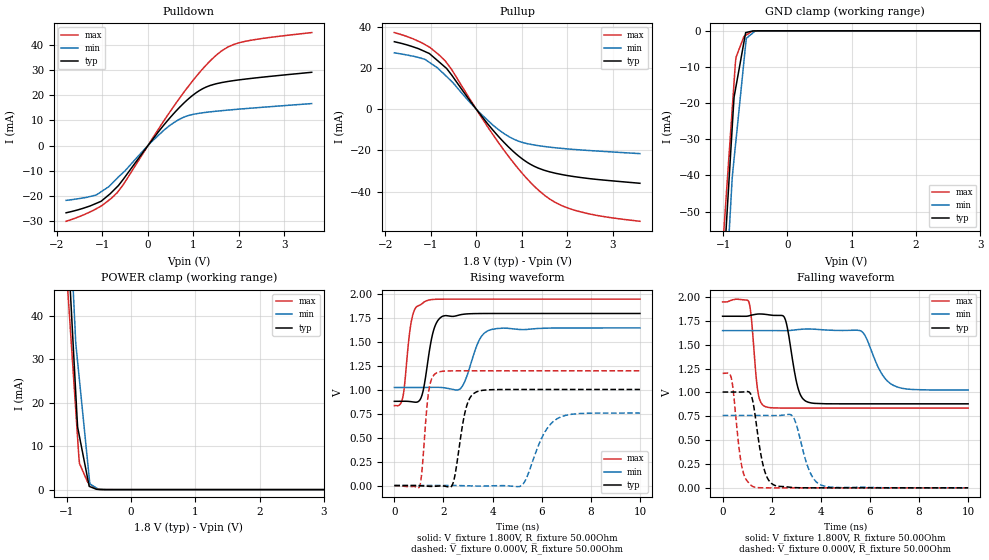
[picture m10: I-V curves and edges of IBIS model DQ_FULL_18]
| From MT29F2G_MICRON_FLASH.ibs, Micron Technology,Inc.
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|   MODEL DQ_FULL_18
[Model]   DQ_FULL_18
Model_type   I/O
Vinl = 360.000mV
Vinh = 1.44V
Vmeas = 900.000mV
Cref = 30.000pF
|   typ   min   max
C_comp   3.52pF   3.07pF   4.00pF
[Model Spec]
| Input threshold voltage corners
Vinl   0.36V   0.33V   0.39V
Vinh   1.44V   1.320V   1.560V
| Measurement voltage corners
Vmeas   0.9V   0.825V   0.975V
[Voltage Range]   1.80V   1.650V   1.950V
| Junction Temperature (Ambient temp is 25C typ, 70C min, 0C max)
[Temperature Range]   40   85   0
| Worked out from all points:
|   slope of the pulldown table from 0 to 0.27 V, typ, clamps not added: 42.2 ohm
|   slope of the pullup table from 0 to 0.27 V, typ, clamps not added: 35.4 ohm
|   GND clamp passes 1 mA (typ) near -0.66 V on its own axis
|   POWER clamp passes 1 mA (typ) near -0.65 V on its own axis
|   falling waveform, V_fixture 1.800V, R_fixture 50.00Ohm: 20-80 % time 370ps typ, 676ps min, 219ps max; typ from 1.8 V to 0.881 V
|   rising waveform, V_fixture 1.800V, R_fixture 50.00Ohm: 20-80 % time 362ps typ, 503ps min, 281ps max; typ from 0.881 V to 1.8 V
|   rising waveform, V_fixture 0.000V, R_fixture 50.00Ohm: 20-80 % time 385ps typ, 757ps min, 232ps max; typ from 0.001 V to 1 V
|   falling waveform, V_fixture 0.000V, R_fixture 50.00Ohm: 20-80 % time 386ps typ, 515ps min, 313ps max; typ from 1 V to 0.001 V
[Pulldown]
|   Voltage   I(typ)   I(min)   I(max)
-1.8V     -26.71mA   -21.78mA   -30.09mA
-1.13V    -22.91mA   -19.57mA   -25.04mA
-860mV    -19.59mA   -16.32mA   -21.73mA
-680mV    -16.44mA   -13.05mA   -18.79mA
80mV      1.879mA    1.499mA    2.282mA
550mV     12.37mA    8.859mA    15.11mA
810mV     17.21mA    11.41mA    21.62mA
1.11V     21.56mA    12.75mA    28.48mA
1.62V     24.99mA    13.83mA    37.57mA
1.88V     25.76mA    14.26mA    40.08mA
2.13V     26.35mA    14.63mA    41.33mA
3.6V      29.07mA    16.65mA    44.84mA
[GND Clamp]
|   Voltage   I(typ)   I(min)   I(max)
-1.8V     -368.6mA   -374.1mA   -367.8mA
-1.01V    -71.25mA   -88.35mA   -60.63mA
-860mV    -26.92mA   -40.9mA    -21.85mA
-830mV    -18.32mA   -35.43mA   -14.1mA
-810mV    -16.34mA   -31.91mA   -8.928mA
-800mV    -15.34mA   -30.15mA   -7.326mA
-680mV    -3.437mA   -9.014mA   -1.724mA
-650mV    -492.2uA   -3.73mA    -1.241mA
-640mV    -450.9uA   -2.072mA   -1.131mA
-560mV    -120.1uA   -899.9uA   -244.2uA
-500mV    -15.04uA   -47.7uA    -71.35uA
3.6V      0A         0A         0A
[Pullup]
|   Voltage   I(typ)   I(min)   I(max)
-1.8V     32.73mA    27.34mA    37.16mA
-1.13V    27.98mA    24.19mA    31.38mA
-1.03V    26.99mA    22.7mA     30.13mA
-680mV    20.3mA     16.47mA    23.38mA
80mV      -2.235mA   -1.815mA   -2.748mA
550mV     -14.69mA   -10.89mA   -18.06mA
810mV     -20.4mA    -14.38mA   -25.69mA
1.06V     -24.87mA   -16.39mA   -32.33mA
1.53V     -29.86mA   -18.19mA   -42.24mA
1.89V     -31.74mA   -19.04mA   -46.87mA
2.24V     -32.98mA   -19.69mA   -49.5mA
3.6V      -35.95mA   -21.56mA   -54.39mA
[POWER Clamp]
|   Voltage   I(typ)   I(min)   I(max)
-1.8V     352.8mA    360.4mA    347.7mA
-1.01V    64.27mA    80.53mA    52.02mA
-860mV    22.49mA    34.09mA    18.52mA
-830mV    14.41mA    29.43mA    11.82mA
-810mV    12.89mA    26.46mA    7.353mA
-800mV    12.13mA    24.98mA    5.998mA
-680mV    3.006mA    7.173mA    1.916mA
-650mV    749.4uA    2.722mA    1.451mA
-640mV    689uA      1.328mA    1.327mA
-560mV    205.2uA    578.3uA    330.5uA
-500mV    35.17uA    33.66uA    97.73uA
3.6V      0A         0A         0A
[Ramp]
R_load = 50.00Ohm
|   typ   min   max
dV/dt_r   602.498mV/384.502ps 454.704mV/755.849ps 719.800mV/231.718ps
dV/dt_f   550.856mV/369.766ps 373.618mV/675.703ps 667.557mV/218.679ps
[Falling Waveform]
V_fixture = 1.800V
V_fixture_min = 1.650V
V_fixture_max = 1.950V
R_fixture = 50.00Ohm
|   Time   V(typ)   V(min)   V(max)
0s        1.799V     1.649V     1.949V
1.06ns    1.803V     1.649V     1.956V
1.43ns    1.822V     1.649V     1.022V
1.73ns    1.82V      1.649V     853mV
2.52ns    1.786V     1.648V     836.8mV
3.06ns    1.057V     1.659V     836.6mV
3.4ns     907.3mV    1.666V     836.6mV
5.67ns    881.1mV    1.639V     836.6mV
7.12ns    881.1mV    1.057V     836.6mV
10ns      881.1mV    1.026V     836.6mV
[Rising Waveform]
V_fixture = 1.800V
V_fixture_min = 1.650V
V_fixture_max = 1.950V
R_fixture = 50.00Ohm
|   Time   V(typ)   V(min)   V(max)
0s        881.1mV    1.026V     836.6mV
350ps     881.7mV    1.026V     928.3mV
770ps     874.4mV    1.026V     1.801V
1.09ns    919.1mV    1.026V     1.894V
1.3ns     1.184V     1.026V     1.931V
1.59ns    1.616V     1.027V     1.946V
1.99ns    1.773V     1.024V     1.949V
2.71ns    1.787V     1.019V     1.949V
3.88ns    1.799V     1.626V     1.949V
10ns      1.799V     1.649V     1.949V
[Rising Waveform]
V_fixture = 0.000V
V_fixture_min = 0.000V
V_fixture_max = 0.000V
R_fixture = 50.00Ohm
|   Time   V(typ)   V(min)   V(max)
0s        628.4uV    931.1uV    263.2uV
1.03ns    -1.224mV   932.7uV    -7.509mV
1.4ns     -7.279mV   910.9uV    986.4mV
1.73ns    -5.735mV   941.1uV    1.18V
2.36ns    5.979mV    1.119mV    1.199V
2.92ns    810.1mV    -1.63mV    1.2V
3.35ns    980.4mV    -4.724mV   1.2V
5.18ns    1.005V     674.9uV    1.2V
6.8ns     1.005V     720.4mV    1.2V
10ns      1.005V     758.8mV    1.2V
[Falling Waveform]
V_fixture = 0.000V
V_fixture_min = 0.000V
V_fixture_max = 0.000V
R_fixture = 50.00Ohm
|   Time   V(typ)   V(min)   V(max)
0s        1.005V     758.8mV    1.2V
350ps     1.005V     758.8mV    1.157V
790ps     1.005V     758.8mV    217.1mV
1.24ns    897.5mV    758.8mV    13.34mV
1.68ns    207.2mV    758.6mV    821.9uV
2.13ns    25.77mV    758mV      302.6uV
2.87ns    3.907mV    744.9mV    263.4uV
3.51ns    795.3uV    194.4mV    263.2uV
4.02ns    645.5uV    28.89mV    263.2uV
10ns      628.4uV    931.1uV    263.2uV
